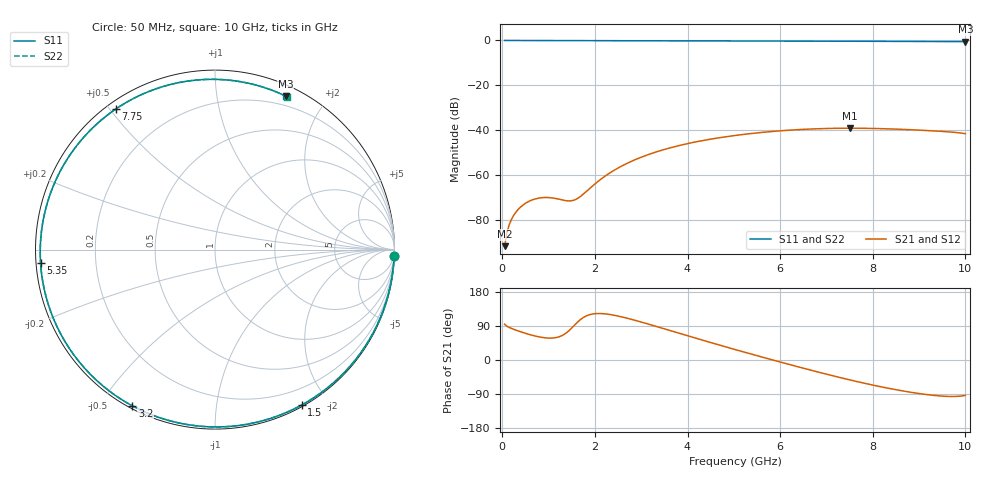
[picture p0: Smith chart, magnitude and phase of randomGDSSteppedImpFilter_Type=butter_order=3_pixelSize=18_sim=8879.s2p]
! freq	dB(S11)	phase(S11)	dB(S12)	phase(S12)
!  dB(S21)	phase(S21)	dB(S22)	phase(S22)
!S-par simulation data
#  GHz  S  DB  R 50
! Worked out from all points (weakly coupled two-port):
!   200 points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, 50 MHz to 10 GHz, reference 50 ohm
!   highest |S21| = -39.08 dB at 7.5 GHz (marker M1); lowest = -91.6 dB at 50 MHz (marker M2)
!   lowest |S11| = -0.5 dB at 10 GHz (marker M3), VSWR 33.26, Z = 5.15 + j77.7 ohm
!   |S11| at or under -10 dB: nowhere
!   |S22| runs from -0.5 to 0.0 dB; largest |S21 - S12| = 0
!   S11 on the Smith chart (normalised r, x): 50 MHz: 1, -56; 1.5 GHz: 0.02, -1.70; 3.2 GHz: 0.01, -0.60; 5.35 GHz: 0.01, -0.04; 7.75 GHz: 0.03, +0.52; 10 GHz: 0.10, +1.55
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0.05  -0.00 -2.0  -91.61 94.5  -91.61 94.5  -0.00 -2.0
0.2  -0.02 -8.4  -79.61 83.2  -79.61 83.2  -0.02 -8.4
0.3  -0.02 -12.6  -76.29 78.5  -76.29 78.5  -0.02 -12.6
0.4  -0.03 -16.8  -74.08 74.3  -74.08 74.3  -0.03 -16.8
0.7  -0.04 -29.2  -70.65 63.5  -70.65 63.5  -0.04 -29.2
1  -0.05 -41.4  -69.96 57.8  -69.96 57.8  -0.05 -41.4
1.5  -0.07 -60.8  -71.38 84.5  -71.38 84.5  -0.07 -60.8
1.75  -0.08 -70.1  -68.42 112.1  -68.42 112.1  -0.08 -70.1
2.1  -0.10 -82.5  -62.23 122.7  -62.23 122.7  -0.10 -82.6
2.4  -0.11 -92.7  -58.00 118.5  -58.00 118.5  -0.11 -92.8
3.2  -0.13 -117.9  -50.49 93.1  -50.49 93.1  -0.13 -118.0
3.4  -0.14 -123.8  -49.15 85.9  -49.15 85.9  -0.14 -123.9
4.2  -0.17 -146.1  -45.08 56.8  -45.08 56.8  -0.17 -146.2
5.05  -0.21 -168.0  -42.25 26.8  -42.25 26.8  -0.21 -168.2
5.35  -0.22 -175.5  -41.50 16.5  -41.50 16.5  -0.22 -175.7
6  -0.26 168.5  -40.24 -5.3  -40.24 -5.3  -0.26 168.2
6.7  -0.30 151.3  -39.40 -28.0  -39.40 -28.0  -0.30 151.0
7.5  -0.35 131.5  -39.08 -52.4  -39.08 -52.4  -0.35 131.1
7.75  -0.37 125.2  -39.11 -59.5  -39.11 -59.5  -0.37 124.8
8.35  -0.41 109.8  -39.38 -74.9  -39.38 -74.9  -0.41 109.3
9.2  -0.47 87.2  -40.14 -91.8  -40.14 -91.8  -0.47 86.7
10  -0.52 65.3  -41.55 -93.2  -41.55 -93.2  -0.52 64.7
